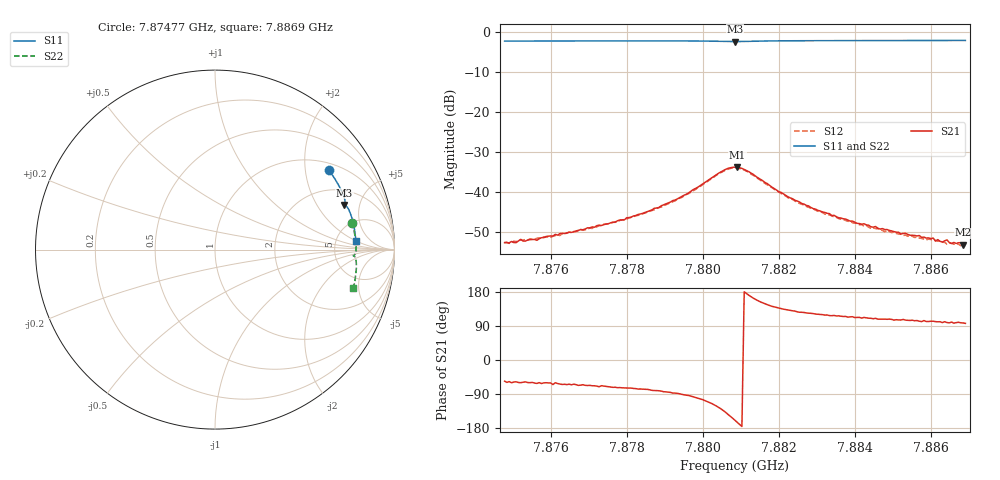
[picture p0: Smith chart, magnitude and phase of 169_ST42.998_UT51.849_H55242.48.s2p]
#  HZ  S  DB  R  50.00
! Rohde & Schwarz Vector Network Analyzer
! Rohde-Schwarz,ZNB20-2Port,1311601062101988,3.16
! Created: UTC 1/12/2023, 6:41:54 PM
! freq[Hz]  db:S11  ang:S11  db:S21  ang:S21  db:S12  ang:S12  db:S22  ang:S22
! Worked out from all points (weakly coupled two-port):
!   201 points, 7.87477 GHz to 7.8869 GHz, reference 50 ohm
!   highest |S21| = -33.75 dB at 7.8809 GHz (marker M1); lowest = -53.1 dB at 7.88684 GHz (marker M2)
!   lowest |S11| = -2.4 dB at 7.88084 GHz (marker M3), VSWR 7.41, Z = 150 + j178 ohm
!   |S11| at or under -10 dB: nowhere
!   |S22| runs from -2.3 to -1.9 dB; largest |S21 - S12| = 0.0013
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7.874772e9  -2.24 35.1  -52.63 -55.9  -52.51 -58.8  -2.19 11.1
7.875075e9  -2.23 34.2  -52.59 -57.6  -52.35 -60.8  -2.17 10.4
7.875196e9  -2.23 33.9  -51.79 -59.9  -51.88 -63.1  -2.17 10.1
7.875621e9  -2.23 32.7  -52.02 -61.8  -51.53 -65.6  -2.16 9.1
7.876834e9  -2.20 29.5  -49.38 -65.2  -49.52 -68.1  -2.13 6.2
7.877926e9  -2.19 26.4  -46.92 -73.8  -46.83 -76.8  -2.10 3.7
7.878835e9  -2.19 23.9  -43.81 -81.2  -43.86 -85.0  -2.08 1.5
7.879624e9  -2.21 21.7  -40.10 -93.7  -40.32 -98.0  -2.10 -0.4
7.880594e9  -2.34 19.2  -34.27 -138.4  -34.49 -141.9  -2.24 -2.5
7.880837e9  -2.36 19.0  -33.75 -159.3  -33.93 -162.5  -2.26 -2.5
7.880898e9  -2.36 19.0  -33.75 -164.6  -33.95 -168.1  -2.26 -2.5
7.881201e9  -2.30 18.7  -34.88 170.9  -35.06 167.3  -2.20 -2.7
7.882232e9  -2.17 16.0  -41.14 131.7  -41.38 128.5  -2.04 -4.9
7.882899e9  -2.14 14.1  -44.12 122.4  -44.20 118.6  -2.02 -6.5
7.884234e9  -2.11 10.5  -47.89 112.3  -48.51 108.3  -1.98 -9.6
7.884901e9  -2.10 8.7  -49.55 108.0  -49.84 105.4  -1.97 -11.0
7.886053e9  -2.09 5.7  -51.45 102.4  -51.99 99.2  -1.96 -13.6
7.886114e9  -2.09 5.6  -52.21 101.3  -52.04 99.3  -1.95 -13.7
7.886417e9  -2.09 4.8  -51.92 98.9  -52.97 95.6  -1.95 -14.3
7.886538e9  -2.09 4.5  -52.84 100.1  -52.76 94.3  -1.95 -14.6
7.886842e9  -2.09 3.7  -53.15 97.8  -53.19 94.4  -1.95 -15.2
7.886902e9  -2.09 3.5  -52.94 96.7  -53.49 94.5  -1.95 -15.4
